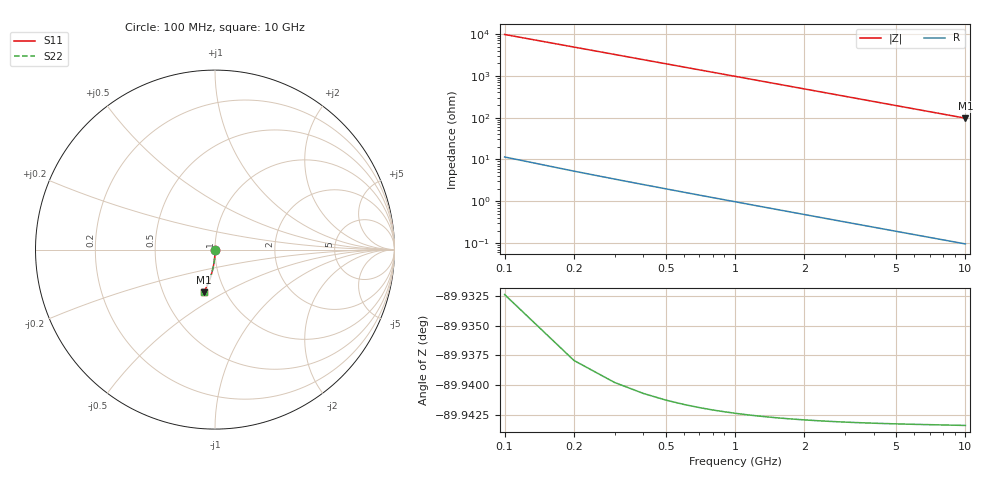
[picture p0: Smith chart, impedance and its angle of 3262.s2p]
# Hz S RI R 50.00
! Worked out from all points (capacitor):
!   100 points, 100 MHz to 10 GHz, reference 50 ohm
!   read as one part in shunt: C = 164 fF near 100 MHz
!   lowest |Z| = 97 ohm at 10 GHz (marker M1)
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1e8  3.83e-06 -0.00253  1 -0.00262  1 -0.00262  3.83e-06 -0.00253
2e8  -1.85e-05 -0.00506  1 -0.00524  1 -0.00524  -1.85e-05 -0.00506
3e8  -5.41e-05 -0.00759  0.9999 -0.00786  0.9999 -0.00786  -5.41e-05 -0.00759
4e8  -0.000103 -0.0101  0.9999 -0.0105  0.9999 -0.0105  -0.000103 -0.0101
5e8  -0.000165 -0.0126  0.9998 -0.0131  0.9998 -0.0131  -0.000165 -0.0126
6e8  -0.000241 -0.0152  0.9997 -0.0157  0.9997 -0.0157  -0.000241 -0.0152
7e8  -0.000329 -0.0177  0.9996 -0.0183  0.9996 -0.0183  -0.000329 -0.0177
8e8  -0.000431 -0.0202  0.9995 -0.021  0.9995 -0.021  -0.000431 -0.0202
9e8  -0.000546 -0.0228  0.9994 -0.0236  0.9994 -0.0236  -0.000546 -0.0228
1.1e9  -0.000816 -0.0278  0.9992 -0.0288  0.9992 -0.0288  -0.000816 -0.0278
1.4e9  -0.00132 -0.0354  0.9987 -0.0366  0.9987 -0.0366  -0.00132 -0.0354
1.8e9  -0.00218 -0.0454  0.9978 -0.0471  0.9978 -0.0471  -0.00218 -0.0454
2.1e9  -0.00296 -0.053  0.997 -0.0549  0.997 -0.0549  -0.00296 -0.053
2.5e9  -0.00418 -0.063  0.9958 -0.0653  0.9958 -0.0653  -0.00418 -0.063
2.9e9  -0.00561 -0.073  0.9944 -0.0756  0.9944 -0.0756  -0.00561 -0.073
3.4e9  -0.00769 -0.0854  0.9923 -0.0885  0.9923 -0.0885  -0.00769 -0.0854
4.2e9  -0.0117 -0.1051  0.9883 -0.1089  0.9883 -0.1089  -0.0117 -0.1051
5.1e9  -0.0171 -0.1269  0.9829 -0.1315  0.9829 -0.1315  -0.0171 -0.1269
5.9e9  -0.0227 -0.146  0.9772 -0.1514  0.9772 -0.1514  -0.0227 -0.146
6.7e9  -0.0291 -0.1647  0.9708 -0.1708  0.9708 -0.1708  -0.0291 -0.1647
8.4e9  -0.045 -0.2031  0.9549 -0.2108  0.9549 -0.2108  -0.045 -0.2031
1e10  -0.0626 -0.2373  0.9373 -0.2465  0.9373 -0.2465  -0.0626 -0.2373
